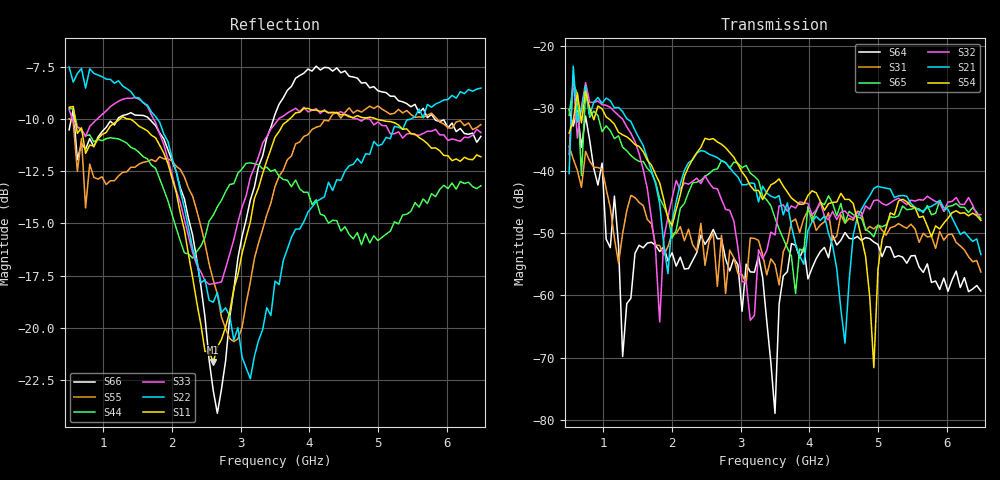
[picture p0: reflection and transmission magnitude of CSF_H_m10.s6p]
!Keysight Technologies,M9804A,MY58100912,A.14.10.03
!Date: Thursday, April 27, 2023 10:28:33
!Correction: S11(C  6-Port  )
!S12(C  6-Port  )
!S13(C  6-Port  )
!S14(C  6-Port  )
!S15(C  6-Port  )
!S16(C  6-Port  )
!S21(C  6-Port  )
!S22(C  6-Port  )
!S23(C  6-Port  )
!S24(C  6-Port  )
!S25(C  6-Port  )
!S26(C  6-Port  )
!S31(C  6-Port  )
!S32(C  6-Port  )
!S33(C  6-Port  )
!S34(C  6-Port  )
!S35(C  6-Port  )
!S36(C  6-Port  )
!S41(C  6-Port  )
!S42(C  6-Port  )
!S43(C  6-Port  )
!S44(C  6-Port  )
!S45(C  6-Port  )
!S46(C  6-Port  )
!S51(C  6-Port  )
!S52(C  6-Port  )
!S53(C  6-Port  )
!S54(C  6-Port  )
!S55(C  6-Port  )
!S56(C  6-Port  )
!S61(C  6-Port  )
!S62(C  6-Port  )
!S63(C  6-Port  )
!S64(C  6-Port  )
!S65(C  6-Port  )
!S66(C  6-Port  )
!S6P File: Measurement: :
# Hz S  RI  R 50
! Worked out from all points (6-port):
!   101 points, 500 MHz to 6.5 GHz, reference 50 ohm
!   strongest paths, dB at 500 MHz, 2 GHz, 3.5 GHz, 5 GHz, 6.5 GHz:
!     S54: -34.0, -48.9, -41.9, -55.8, -48.0
!     S21: -40.5, -48.1, -44.4, -42.5, -53.5
!     S32: -37.5, -44.4, -50.3, -44.7, -47.1
!     S65: -31.2, -50.8, -47.6, -48.8, -47.8
!     S31: -36.1, -50.1, -55.1, -48.8, -56.3
!     S64: -30.2, -53.2, -78.9, -51.8, -59.3
!   lowest |S11| = -21.6 dB at 2.6 GHz (marker M1), VSWR 1.18, Z = 42.6 + j2.03 ohm
!   |S11| at or under -10 dB: 587.7 MHz to 1.241 GHz (653.3 MHz wide, 71.4 % of centre); 1.355 GHz to 3.714 GHz (2.359 GHz wide, 93.1 % of centre); 4.976 GHz to end of sweep
